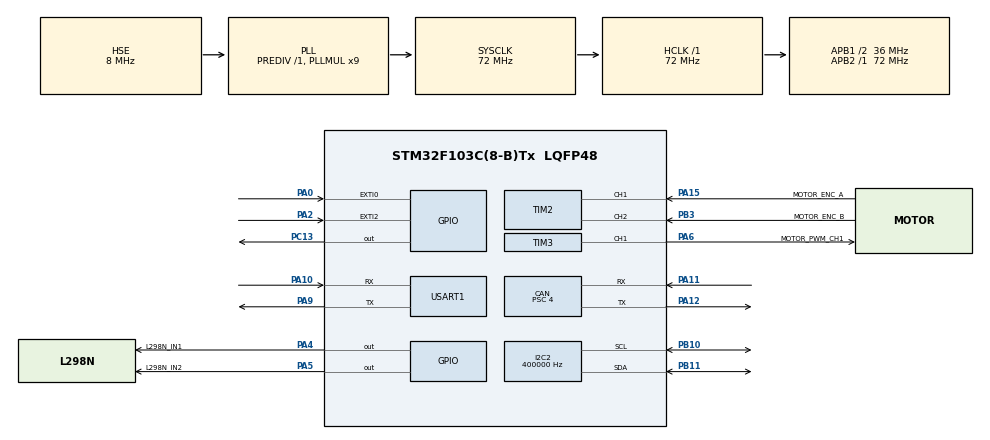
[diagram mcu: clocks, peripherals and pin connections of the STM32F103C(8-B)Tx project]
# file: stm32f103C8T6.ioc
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CAN.BS1=CAN_BS1_13TQ
CAN.BS2=CAN_BS2_4TQ
CAN.CalculateBaudRate=500000
CAN.CalculateTimeBit=2000
CAN.CalculateTimeQuantum=111.11111111111111
CAN.Mode=CAN_MODE_LOOPBACK
CAN.NART=ENABLE
CAN.Prescaler=4
Dma.I2C2_TX.0.Direction=DMA_MEMORY_TO_PERIPH
Dma.I2C2_TX.0.Instance=DMA1_Channel4
Dma.I2C2_TX.0.MemDataAlignment=DMA_MDATAALIGN_BYTE
Dma.I2C2_TX.0.MemInc=DMA_MINC_ENABLE
Dma.I2C2_TX.0.Mode=DMA_NORMAL
Dma.I2C2_TX.0.PeriphDataAlignment=DMA_PDATAALIGN_BYTE
Dma.I2C2_TX.0.PeriphInc=DMA_PINC_DISABLE
Dma.I2C2_TX.0.Priority=DMA_PRIORITY_LOW
Dma.Request0=I2C2_TX
I2C2.ClockSpeed=400000
I2C2.I2C_Mode=I2C_Fast
Mcu.Family=STM32F1
Mcu.Name=STM32F103C(8-B)Tx
Mcu.Package=LQFP48
NVIC.CAN1_SCE_IRQn=true\:3\:0\:true\:false\:true\:true\:true\:true
NVIC.DMA1_Channel4_IRQn=true\:8\:0\:true\:false\:true\:false\:true\:true
NVIC.EXTI0_IRQn=true\:5\:0\:true\:false\:true\:true\:true\:true
NVIC.EXTI2_IRQn=true\:5\:0\:true\:false\:true\:true\:true\:true
NVIC.I2C2_EV_IRQn=true\:8\:0\:true\:false\:true\:true\:true\:true
NVIC.PriorityGroup=NVIC_PRIORITYGROUP_4
NVIC.TIM3_IRQn=true\:1\:0\:true\:false\:true\:true\:true\:true
NVIC.TIM4_IRQn=true\:1\:0\:true\:false\:true\:true\:true\:true
NVIC.USART1_IRQn=true\:5\:0\:true\:false\:true\:true\:true\:true
NVIC.USB_HP_CAN1_TX_IRQn=true\:0\:0\:false\:false\:true\:true\:true\:true
NVIC.USB_LP_CAN1_RX0_IRQn=true\:0\:0\:false\:false\:true\:true\:true\:true
PA0-WKUP.GPIO_ModeDefaultEXTI=GPIO_MODE_IT_RISING
PA0-WKUP.GPIO_PuPd=GPIO_PULLUP
PA0-WKUP.Signal=GPXTI0
PA10.Mode=Asynchronous
PA10.Signal=USART1_RX
PA11.Mode=CAN_Activate
PA11.Signal=CAN_RX
PA12.Mode=CAN_Activate
PA12.Signal=CAN_TX
PA13.Mode=Serial_Wire
PA13.Signal=SYS_JTMS-SWDIO
PA14.Mode=Serial_Wire
PA14.Signal=SYS_JTCK-SWCLK
PA15.GPIO_Label=MOTOR_ENC_A
PA15.Signal=S_TIM2_CH1_ETR
PA2.GPIO_PuPd=GPIO_PULLUP
PA2.Signal=GPXTI2
PA4.GPIO_Label=L298N_IN1
PA4.Signal=GPIO_Output
PA5.GPIO_Label=L298N_IN2
PA5.Signal=GPIO_Output
PA6.GPIO_Label=MOTOR_PWM_CH1
PA6.Signal=S_TIM3_CH1
PA9.Mode=Asynchronous
PA9.Signal=USART1_TX
PB10.GPIO_Speed=GPIO_SPEED_FREQ_HIGH
PB10.Mode=I2C
PB10.Signal=I2C2_SCL
PB11.GPIO_Speed=GPIO_SPEED_FREQ_HIGH
PB11.Mode=I2C
PB11.Signal=I2C2_SDA
PB3.GPIO_Label=MOTOR_ENC_B
PB3.Signal=S_TIM2_CH2
PC13-TAMPER-RTC.PinState=GPIO_PIN_SET
PC13-TAMPER-RTC.Signal=GPIO_Output
PD0-OSC_IN.Mode=HSE-External-Oscillator
PD0-OSC_IN.Signal=RCC_OSC_IN
PD1-OSC_OUT.Mode=HSE-External-Oscillator
PD1-OSC_OUT.Signal=RCC_OSC_OUT
ProjectManager.HeapSize=0x200
ProjectManager.StackSize=0x400
ProjectManager.TargetToolchain=CMake
RCC.AHBFreq_Value=72000000
RCC.APB1CLKDivider=RCC_HCLK_DIV2
RCC.APB1Freq_Value=36000000
RCC.APB1TimFreq_Value=72000000
RCC.APB2Freq_Value=72000000
RCC.APB2TimFreq_Value=72000000
RCC.HCLKFreq_Value=72000000
RCC.PLLMUL=RCC_PLL_MUL9
RCC.PLLSourceVirtual=RCC_PLLSOURCE_HSE
RCC.SYSCLKFreq_VALUE=72000000
RCC.SYSCLKSource=RCC_SYSCLKSOURCE_PLLCLK
RCC.USBFreq_Value=72000000
SH.S_TIM2_CH1_ETR.0=TIM2_CH1,Encoder_Interface
SH.S_TIM2_CH2.0=TIM2_CH2,Encoder_Interface
SH.S_TIM3_CH1.0=TIM3_CH1,PWM Generation1 CH1
TIM2.EncoderMode=TIM_ENCODERMODE_TI12
TIM3.Channel-PWM\ Generation1\ CH1=TIM_CHANNEL_1
TIM3.Period=3599
TIM3.Prescaler=0
TIM4.AutoReloadPreload=TIM_AUTORELOAD_PRELOAD_ENABLE
TIM4.Period=9999
TIM4.Prescaler=71
USART1.VirtualMode=VM_ASYNC
VP_TIM4_VS_ClockSourceINT.Mode=Internal
board=custom

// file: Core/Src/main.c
/* USER CODE BEGIN Header */
/**
 ******************************************************************************
 * @file           : main.c
 * @brief          : Main program body
 * @author         : luo-luo-o
 ******************************************************************************
 * @attention
 *
 * Copyright (c) 2026 STMicroelectronics.
 * All rights reserved.
 *
 * This software is licensed under terms that can be found in the LICENSE file
 * in the root directory of this software component.
 * If no LICENSE file comes with this software, it is provided AS-IS.
 *
 ******************************************************************************
 */
/* USER CODE END Header */
#include "main.h"

/* USER CODE BEGIN Includes */

#include "OLED.h"
#include "CAN.h"
#include "servo.h"

/* USER CODE END Includes */

/* USER CODE BEGIN PD */

#define LED_ON GPIO_PIN_RESET
#define LED_OFF GPIO_PIN_SET

/* USER CODE END PD */

CAN_HandleTypeDef hcan;

I2C_HandleTypeDef hi2c2;
DMA_HandleTypeDef hdma_i2c2_tx;

TIM_HandleTypeDef htim2;
TIM_HandleTypeDef htim3;
TIM_HandleTypeDef htim4;

UART_HandleTypeDef huart1;

/* USER CODE BEGIN PV */

static CAN_RxHeaderTypeDef RxHeader;
static uint8_t RxData[8];
Servo_t servo_1;

/* ---- 新增 VOFA+ 串口调参接收缓冲区 ---- */
#define RX_BUF_SIZE 64
uint8_t rx_byte;
uint8_t rx_buffer[RX_BUF_SIZE];
uint8_t rx_index = 0;
/* -------------------------------------- */

/* USER CODE END PV */

void SystemClock_Config(void);
static void MX_GPIO_Init(void);
static void MX_DMA_Init(void);
static void MX_I2C2_Init(void);
static void MX_TIM2_Init(void);
static void MX_TIM3_Init(void);
static void MX_CAN_Init(void);
static void MX_TIM4_Init(void);
static void MX_USART1_UART_Init(void);

/* USER CODE BEGIN 0 */

/* ------------------- flags ----------------- */

volatile bool is_exti0_pressed = false;
volatile bool is_exti2_pressed = false;
uint32_t stage_id = 0;
static volatile bool go_to_target = false;

/* ------------------------------------------- */

/* USER CODE END 0 */

int main(void)
{

  /* MCU Configuration--------------------------------------------------------*/

  /* Reset of all peripherals, Initializes the Flash interface and the Systick. */
  HAL_Init();

  /* Configure the system clock */
  SystemClock_Config();

  /* Initialize all configured peripherals */
  MX_GPIO_Init();
  MX_DMA_Init();
  MX_I2C2_Init();
  MX_TIM2_Init();
  MX_TIM3_Init();
  MX_CAN_Init();
  MX_TIM4_Init();
  MX_USART1_UART_Init();
  /* USER CODE BEGIN 2 */
  OLED_Init();
  CAN_Init();

  HAL_UART_Receive_IT(&huart1, &rx_byte, 1);

  // htim3: PWM 定时器, htim2: 编码器定时器
  // 【修改】最后新增一个参数 &huart1，将其绑定给内部 PID 进行组件化集成
  Servo_Init(&servo_1, &htim3, TIM_CHANNEL_1, &htim2,
            L298N_IN1_GPIO_Port, L298N_IN1_Pin, L298N_IN2_GPIO_Port, L298N_IN2_Pin, &huart1);

  // 串级 PID: 位置环输出目标速度，速度环输出 PWM
  Servo_SetMaxTargetSpeed(&servo_1, 100);
  Servo_ConfigPID(&servo_1, 0.14f, 0.0f, 0.4f, 0.0f);
  Servo_ConfigSpeedPID(&servo_1, 80.0f, 5.0f, 0.0f, 500.0f);

  static uint32_t oled_show_tick = 0;
  static uint32_t can_send_tick = 0;
  static uint32_t led_tick = 0;
  static uint32_t vofa_send_tick = 0;

  HAL_TIM_Base_Start_IT(&htim4);
  /* USER CODE END 2 */

  /* Infinite loop */
  /* USER CODE BEGIN WHILE */
  while (1)
  {
    if (led_tick <= 2000)
    {
      HAL_GPIO_WritePin(GPIOC, GPIO_PIN_13, LED_ON);
      led_tick = HAL_GetTick();
    }
    else {
      HAL_GPIO_WritePin(GPIOC, GPIO_PIN_13, LED_OFF);
    }

    if (HAL_GetTick() - can_send_tick >= 100)
    {

      can_send_tick = HAL_GetTick();
    }

    if (HAL_GetTick() - vofa_send_tick >= 50)
    {
      Servo_SendTelemetry(&servo_1);
      vofa_send_tick = HAL_GetTick();
    }

    if (HAL_GetTick() - oled_show_tick >= 33) {
      OLED_Update();
      oled_show_tick = HAL_GetTick();
    }

    OLED_ShowString(1, 1, "TOTLE: ");
    if (servo_1.total_count < 0)
    {
      OLED_ShowChar(1, 7, '-');
      OLED_ShowNum(1, 8, -servo_1.total_count, 5);
    }
    else
      OLED_ShowNum(1, 8, servo_1.total_count, 5);

    OLED_ShowString(2, 1, "DELTA: ");
    if (servo_1.delta_speed < 0) {
      OLED_ShowChar(2, 7, '-');
      OLED_ShowNum(2, 8, -servo_1.delta_speed, 5);
    }
    else
    {
      OLED_ShowNum(2, 8, servo_1.delta_speed, 5);
    }

// 【修改】按键 1 逻辑：直接调用高层闭环动作函数
    if (is_exti0_pressed)
    {
        Servo_SetTargetPos(&servo_1, servo_1.target_position + 1000); // 干净的目标设定
        is_exti0_pressed = false;
    }

    // 按键 2 逻辑：在线微调依然可以通过访问子成员变量实现
    if (is_exti2_pressed)
    {
        Servo_SetTargetPos(&servo_1, servo_1.target_position - 10000); // 干净的目标设定
        is_exti2_pressed = false;
    }

    /* USER CODE END WHILE */

  }
}

void SystemClock_Config(void)
{
  RCC_OscInitTypeDef RCC_OscInitStruct = {0};
  RCC_ClkInitTypeDef RCC_ClkInitStruct = {0};

  /** Initializes the RCC Oscillators according to the specified parameters
  * in the RCC_OscInitTypeDef structure.
  */
  RCC_OscInitStruct.OscillatorType = RCC_OSCILLATORTYPE_HSE;
  RCC_OscInitStruct.HSEState = RCC_HSE_ON;
  RCC_OscInitStruct.HSEPredivValue = RCC_HSE_PREDIV_DIV1;
  RCC_OscInitStruct.HSIState = RCC_HSI_ON;
  RCC_OscInitStruct.PLL.PLLState = RCC_PLL_ON;
  RCC_OscInitStruct.PLL.PLLSource = RCC_PLLSOURCE_HSE;
  RCC_OscInitStruct.PLL.PLLMUL = RCC_PLL_MUL9;
  if (HAL_RCC_OscConfig(&RCC_OscInitStruct) != HAL_OK)
  {
    Error_Handler();
  }

  /** Initializes the CPU, AHB and APB buses clocks
  */
  RCC_ClkInitStruct.ClockType = RCC_CLOCKTYPE_HCLK|RCC_CLOCKTYPE_SYSCLK
                              |RCC_CLOCKTYPE_PCLK1|RCC_CLOCKTYPE_PCLK2;
  RCC_ClkInitStruct.SYSCLKSource = RCC_SYSCLKSOURCE_PLLCLK;
  RCC_ClkInitStruct.AHBCLKDivider = RCC_SYSCLK_DIV1;
  RCC_ClkInitStruct.APB1CLKDivider = RCC_HCLK_DIV2;
  RCC_ClkInitStruct.APB2CLKDivider = RCC_HCLK_DIV1;

  if (HAL_RCC_ClockConfig(&RCC_ClkInitStruct, FLASH_LATENCY_2) != HAL_OK)
  {
    Error_Handler();
  }
}

static void MX_CAN_Init(void)
{

  hcan.Instance = CAN1;
  hcan.Init.Prescaler = 4;
  hcan.Init.Mode = CAN_MODE_LOOPBACK;
  hcan.Init.SyncJumpWidth = CAN_SJW_1TQ;
  hcan.Init.TimeSeg1 = CAN_BS1_13TQ;
  hcan.Init.TimeSeg2 = CAN_BS2_4TQ;
  hcan.Init.TimeTriggeredMode = DISABLE;
  hcan.Init.AutoBusOff = DISABLE;
  hcan.Init.AutoWakeUp = DISABLE;
  hcan.Init.AutoRetransmission = ENABLE;
  hcan.Init.ReceiveFifoLocked = DISABLE;
  hcan.Init.TransmitFifoPriority = DISABLE;
  if (HAL_CAN_Init(&hcan) != HAL_OK)
  {
    Error_Handler();
  }

}

static void MX_I2C2_Init(void)
{

  hi2c2.Instance = I2C2;
  hi2c2.Init.ClockSpeed = 400000;
  hi2c2.Init.DutyCycle = I2C_DUTYCYCLE_2;
  hi2c2.Init.OwnAddress1 = 0;
  hi2c2.Init.AddressingMode = I2C_ADDRESSINGMODE_7BIT;
  hi2c2.Init.DualAddressMode = I2C_DUALADDRESS_DISABLE;
  hi2c2.Init.OwnAddress2 = 0;
  hi2c2.Init.GeneralCallMode = I2C_GENERALCALL_DISABLE;
  hi2c2.Init.NoStretchMode = I2C_NOSTRETCH_DISABLE;
  if (HAL_I2C_Init(&hi2c2) != HAL_OK)
  {
    Error_Handler();
  }

}

static void MX_TIM2_Init(void)
{

  TIM_Encoder_InitTypeDef sConfig = {0};
  TIM_MasterConfigTypeDef sMasterConfig = {0};

  htim2.Instance = TIM2;
  htim2.Init.Prescaler = 0;
  htim2.Init.CounterMode = TIM_COUNTERMODE_UP;
  htim2.Init.Period = 65535;
  htim2.Init.ClockDivision = TIM_CLOCKDIVISION_DIV1;
  htim2.Init.AutoReloadPreload = TIM_AUTORELOAD_PRELOAD_DISABLE;
  sConfig.EncoderMode = TIM_ENCODERMODE_TI12;
  sConfig.IC1Polarity = TIM_ICPOLARITY_RISING;
  sConfig.IC1Selection = TIM_ICSELECTION_DIRECTTI;
  sConfig.IC1Prescaler = TIM_ICPSC_DIV1;
  sConfig.IC1Filter = 0;
  sConfig.IC2Polarity = TIM_ICPOLARITY_RISING;
  sConfig.IC2Selection = TIM_ICSELECTION_DIRECTTI;
  sConfig.IC2Prescaler = TIM_ICPSC_DIV1;
  sConfig.IC2Filter = 0;
  if (HAL_TIM_Encoder_Init(&htim2, &sConfig) != HAL_OK)
  {
    Error_Handler();
  }
  sMasterConfig.MasterOutputTrigger = TIM_TRGO_RESET;
  sMasterConfig.MasterSlaveMode = TIM_MASTERSLAVEMODE_DISABLE;
  if (HAL_TIMEx_MasterConfigSynchronization(&htim2, &sMasterConfig) != HAL_OK)
  {
    Error_Handler();
  }

}

static void MX_TIM3_Init(void)
{

  TIM_MasterConfigTypeDef sMasterConfig = {0};
  TIM_OC_InitTypeDef sConfigOC = {0};

  htim3.Instance = TIM3;
  htim3.Init.Prescaler = 0;
  htim3.Init.CounterMode = TIM_COUNTERMODE_UP;
  htim3.Init.Period = 3599;
  htim3.Init.ClockDivision = TIM_CLOCKDIVISION_DIV1;
  htim3.Init.AutoReloadPreload = TIM_AUTORELOAD_PRELOAD_DISABLE;
  if (HAL_TIM_PWM_Init(&htim3) != HAL_OK)
  {
    Error_Handler();
  }
  sMasterConfig.MasterOutputTrigger = TIM_TRGO_RESET;
  sMasterConfig.MasterSlaveMode = TIM_MASTERSLAVEMODE_DISABLE;
  if (HAL_TIMEx_MasterConfigSynchronization(&htim3, &sMasterConfig) != HAL_OK)
  {
    Error_Handler();
  }
  sConfigOC.OCMode = TIM_OCMODE_PWM1;
  sConfigOC.Pulse = 0;
  sConfigOC.OCPolarity = TIM_OCPOLARITY_HIGH;
  sConfigOC.OCFastMode = TIM_OCFAST_DISABLE;
  if (HAL_TIM_PWM_ConfigChannel(&htim3, &sConfigOC, TIM_CHANNEL_1) != HAL_OK)
  {
    Error_Handler();
  }
  HAL_TIM_MspPostInit(&htim3);

}

static void MX_TIM4_Init(void)
{

  TIM_ClockConfigTypeDef sClockSourceConfig = {0};
  TIM_MasterConfigTypeDef sMasterConfig = {0};

  htim4.Instance = TIM4;
  htim4.Init.Prescaler = 71;
  htim4.Init.CounterMode = TIM_COUNTERMODE_UP;
  htim4.Init.Period = 9999;
  htim4.Init.ClockDivision = TIM_CLOCKDIVISION_DIV1;
  htim4.Init.AutoReloadPreload = TIM_AUTORELOAD_PRELOAD_ENABLE;
  if (HAL_TIM_Base_Init(&htim4) != HAL_OK)
  {
    Error_Handler();
  }
  sClockSourceConfig.ClockSource = TIM_CLOCKSOURCE_INTERNAL;
  if (HAL_TIM_ConfigClockSource(&htim4, &sClockSourceConfig) != HAL_OK)
  {
    Error_Handler();
  }
  sMasterConfig.MasterOutputTrigger = TIM_TRGO_RESET;
  sMasterConfig.MasterSlaveMode = TIM_MASTERSLAVEMODE_DISABLE;
  if (HAL_TIMEx_MasterConfigSynchronization(&htim4, &sMasterConfig) != HAL_OK)
  {
    Error_Handler();
  }

}

static void MX_USART1_UART_Init(void)
{

  huart1.Instance = USART1;
  huart1.Init.BaudRate = 115200;
  huart1.Init.WordLength = UART_WORDLENGTH_8B;
  huart1.Init.StopBits = UART_STOPBITS_1;
  huart1.Init.Parity = UART_PARITY_NONE;
  huart1.Init.Mode = UART_MODE_TX_RX;
  huart1.Init.HwFlowCtl = UART_HWCONTROL_NONE;
  huart1.Init.OverSampling = UART_OVERSAMPLING_16;
  if (HAL_UART_Init(&huart1) != HAL_OK)
  {
    Error_Handler();
  }

}

static void MX_DMA_Init(void)
{

  /* DMA controller clock enable */
  __HAL_RCC_DMA1_CLK_ENABLE();

  /* DMA interrupt init */
  /* DMA1_Channel4_IRQn interrupt configuration */
  HAL_NVIC_SetPriority(DMA1_Channel4_IRQn, 8, 0);
  HAL_NVIC_EnableIRQ(DMA1_Channel4_IRQn);

}

static void MX_GPIO_Init(void)
{
  GPIO_InitTypeDef GPIO_InitStruct = {0};

  /* GPIO Ports Clock Enable */
  __HAL_RCC_GPIOC_CLK_ENABLE();
  __HAL_RCC_GPIOD_CLK_ENABLE();
  __HAL_RCC_GPIOA_CLK_ENABLE();
  __HAL_RCC_GPIOB_CLK_ENABLE();

  /*Configure GPIO pin Output Level */
  HAL_GPIO_WritePin(GPIOC, GPIO_PIN_13, GPIO_PIN_SET);

  /*Configure GPIO pin Output Level */
  HAL_GPIO_WritePin(GPIOA, L298N_IN1_Pin|L298N_IN2_Pin, GPIO_PIN_RESET);

  /*Configure GPIO pin : PC13 */
  GPIO_InitStruct.Pin = GPIO_PIN_13;
  GPIO_InitStruct.Mode = GPIO_MODE_OUTPUT_PP;
  GPIO_InitStruct.Pull = GPIO_NOPULL;
  GPIO_InitStruct.Speed = GPIO_SPEED_FREQ_LOW;
  HAL_GPIO_Init(GPIOC, &GPIO_InitStruct);

  /*Configure GPIO pins : PA0 PA2 */
  GPIO_InitStruct.Pin = GPIO_PIN_0|GPIO_PIN_2;
  GPIO_InitStruct.Mode = GPIO_MODE_IT_RISING;
  GPIO_InitStruct.Pull = GPIO_PULLUP;
  HAL_GPIO_Init(GPIOA, &GPIO_InitStruct);

  /*Configure GPIO pins : L298N_IN1_Pin L298N_IN2_Pin */
  GPIO_InitStruct.Pin = L298N_IN1_Pin|L298N_IN2_Pin;
  GPIO_InitStruct.Mode = GPIO_MODE_OUTPUT_PP;
  GPIO_InitStruct.Pull = GPIO_NOPULL;
  GPIO_InitStruct.Speed = GPIO_SPEED_FREQ_LOW;
  HAL_GPIO_Init(GPIOA, &GPIO_InitStruct);

  /* EXTI interrupt init*/
  HAL_NVIC_SetPriority(EXTI0_IRQn, 5, 0);
  HAL_NVIC_EnableIRQ(EXTI0_IRQn);

  HAL_NVIC_SetPriority(EXTI2_IRQn, 5, 0);
  HAL_NVIC_EnableIRQ(EXTI2_IRQn);

}

/* USER CODE BEGIN 4 */

static uint32_t last_exti0_tick = 0;
static uint32_t last_exti2_tick = 0;

void HAL_GPIO_EXTI_Callback(uint16_t GPIO_Pin)
{
  if (GPIO_Pin == GPIO_PIN_0) {
    if (HAL_GetTick() - last_exti0_tick < 50) {
      return; // 忽略抖动
    }
    is_exti0_pressed = 1; // 切换状态
    last_exti0_tick = HAL_GetTick();
  }
  else if (GPIO_Pin == GPIO_PIN_2) {
    if (HAL_GetTick() - last_exti2_tick < 50) {
      return; // 忽略抖动
    }
    is_exti2_pressed = 1;
    last_exti2_tick = HAL_GetTick();
  }
}

void HAL_TIM_PeriodElapsedCallback(TIM_HandleTypeDef *htim)
{
  if (htim->Instance == TIM4) {
    Servo_Task(&servo_1);
  }
}

void HAL_CAN_RxFifo0MsgPendingCallback(CAN_HandleTypeDef *hcan)
{
  if (HAL_CAN_GetRxMessage(hcan, CAN_RX_FIFO0, &RxHeader, RxData) == HAL_OK)
  {

  }
}

/**
 * @brief 【新增】接收 VOFA+ 调参控件发来的指令字符串并丢给 PID 自我解析
 */
/* USER CODE BEGIN 4 */

void HAL_UART_RxCpltCallback(UART_HandleTypeDef *huart)
{
    if (huart->Instance == huart1.Instance)
    {
        // 当捕获到换行符 \n 或 \r 时，说明一帧数据接收完毕
        if (rx_byte == '\n' || rx_byte == '\r')
        {
            if (rx_index > 0) // 缓冲区内确实有有效数据
            {
                rx_buffer[rx_index] = '\0'; // 强行添加字符串结束符

                // 正常的指令分发解析逻辑
                if (rx_buffer[0] == 'T' && rx_buffer[1] == '=')
                {
                    Servo_SetTargetPos(&servo_1, atoi((char*)rx_buffer + 2));
                }
                else if (rx_buffer[0] == 'M' && rx_buffer[1] == '=')
                {
                    Servo_SetMaxTargetSpeed(&servo_1, (int16_t)atoi((char*)rx_buffer + 2));
                }
                else if (Servo_ParsePidCommand(&servo_1, (char*)rx_buffer))
                {
                }
                else if (rx_buffer[0] == 'P' && (rx_buffer[1] == 'P' || rx_buffer[1] == 'I' || rx_buffer[1] == 'D') && rx_buffer[2] == '=')
                {
                    PID_ParseCommand(&servo_1.pos_pid, (char*)rx_buffer + 1);
                }
                else if (rx_buffer[0] == 'V' && (rx_buffer[1] == 'P' || rx_buffer[1] == 'I' || rx_buffer[1] == 'D') && rx_buffer[2] == '=')
                {
                    PID_ParseCommand(&servo_1.speed_pid, (char*)rx_buffer + 1);
                }
                else
                {
                    PID_ParseCommand(&servo_1.pos_pid, (char*)rx_buffer);
                }
            }
            // 无论 rx_index 是否大于 0，只要见到换行符，一律重置指针，免疫连续 \r\n 造成的死锁
            rx_index = 0;
        }
        else
        {
            // 正常数据存入缓冲区
            if (rx_index < RX_BUF_SIZE - 1)
            {
                rx_buffer[rx_index++] = rx_byte;
            }
            else
            {
                rx_index = 0; // 缓冲区满溢出保护
            }
        }

        // 重新开启单字节中断接收
        HAL_UART_Receive_IT(&huart1, &rx_byte, 1);
    }
}

void HAL_UART_ErrorCallback(UART_HandleTypeDef *huart)
{
    if (huart->Instance == huart1.Instance)
    {
        rx_index = 0;
        __HAL_UART_CLEAR_PEFLAG(huart);
        __HAL_UART_CLEAR_FEFLAG(huart);
        __HAL_UART_CLEAR_NEFLAG(huart);
        __HAL_UART_CLEAR_OREFLAG(huart);
        huart->ErrorCode = HAL_UART_ERROR_NONE;
        HAL_UART_Receive_IT(&huart1, &rx_byte, 1);
    }
}

/* USER CODE END 4 */

void Error_Handler(void)
{
  /* USER CODE BEGIN Error_Handler_Debug */
  /* User can add his own implementation to report the HAL error return state */
  __disable_irq();
  while (1) {
    HAL_GPIO_WritePin(GPIOC, GPIO_PIN_13, LED_ON);
    for (int i = 0; i < 1000000; i++) ; // 简单延时
    HAL_GPIO_WritePin(GPIOC, GPIO_PIN_13, LED_OFF);
    for (int i = 0; i < 1000000; i++) ; // 简单延时
  }
  /* USER CODE END Error_Handler_Debug */
}
#ifdef USE_FULL_ASSERT
/**
  * @brief  Reports the name of the source file and the source line number
  *         where the assert_param error has occurred.
  * @param  file: pointer to the source file name
  * @param  line: assert_param error line source number
  * @retval None
  */
void assert_failed(uint8_t *file, uint32_t line)
{
  /* USER CODE BEGIN 6 */
  /* User can add his own implementation to report the file name and line
     number, ex: printf("Wrong parameters value: file %s on line %d\r\n", file,
     line) */
  /* USER CODE END 6 */
}
#endif /* USE_FULL_ASSERT */
